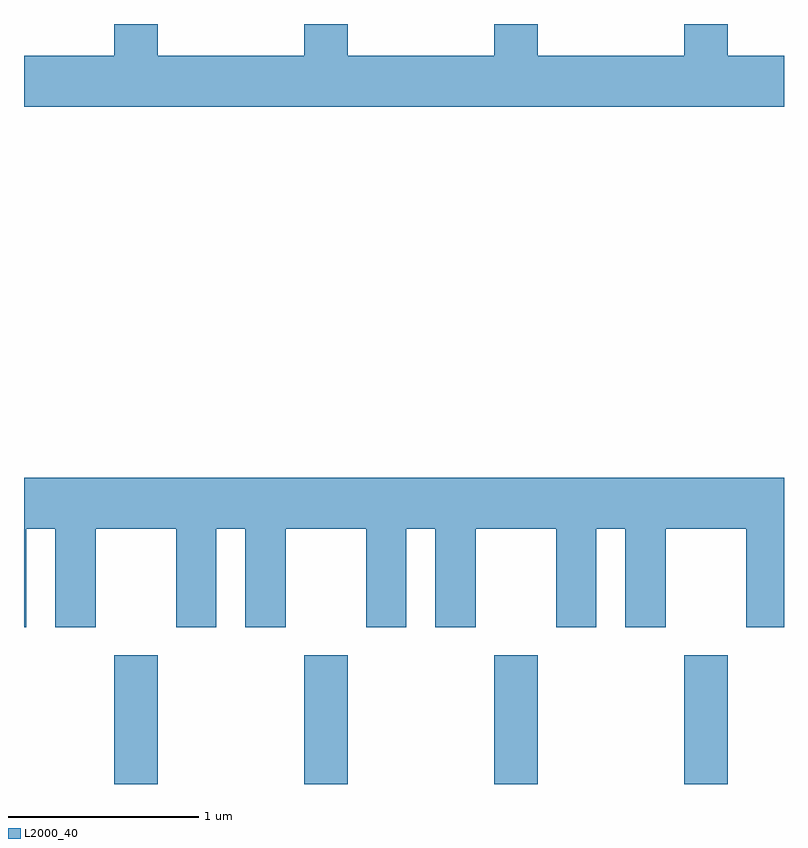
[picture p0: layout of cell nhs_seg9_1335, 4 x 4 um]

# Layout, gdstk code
import gdstk
lib = gdstk.Library(unit=1e-6, precision=1e-09)
def R(c, l, rs):  # rectangles x0, y0, x1, y1
    for r in rs: c.add(gdstk.rectangle(r[:2], r[2:], *l))
def A(c, l, x, y, w, h, nx, ny, dx, dy):  # array of equal rectangles
    R(c, l, [(x+i*dx, y+j*dy, x+i*dx+w, y+j*dy+h) for i in range(nx) for j in range(ny)])
def P(c, l, *ps):  # polygons
    for p in ps: c.add(gdstk.Polygon(p, *l))
L2000_40 = (2000, 40)

nhs_seg9_1335 = lib.new_cell('nhs_seg9_1335')
A(nhs_seg9_1335, L2000_40, 224.086, 2030.432, 0.228, 0.677, 4, 1, 1, 0)
P(nhs_seg9_1335, L2000_40, [(227.611,2034.264),(227.314,2034.264),(227.314,2034.432),(227.086,2034.432),(227.086,2034.264),(226.314,2034.264),(226.314,2034.432),(226.086,2034.432),(226.086,2034.264),(225.314,2034.264),(225.314,2034.432),(225.086,2034.432),(225.086,2034.264),(224.314,2034.264),(224.314,2034.432),(224.086,2034.432),(224.086,2034.264),(223.611,2034.264),(223.611,2033.996),(227.611,2033.996)],
  [(223.624,2031.776),(223.776,2031.776),(223.776,2031.256),(223.989,2031.256),(223.989,2031.776),(224.411,2031.776),(224.411,2031.256),(224.624,2031.256),(224.624,2031.776),(224.776,2031.776),(224.776,2031.256),(224.989,2031.256),(224.989,2031.776),(225.411,2031.776),(225.411,2031.256),(225.624,2031.256),(225.624,2031.776),(225.776,2031.776),(225.776,2031.256),(225.989,2031.256),(225.989,2031.776),(226.411,2031.776),(226.411,2031.256),(226.624,2031.256),(226.624,2031.776),(226.776,2031.776),(226.776,2031.256),(226.989,2031.256),(226.989,2031.776),(227.411,2031.776),(227.411,2031.256),(227.611,2031.256),(227.611,2032.044),(223.611,2032.044),(223.611,2031.256),(223.624,2031.256)])

lib.write_gds('nhs_seg9_1335.gds')
